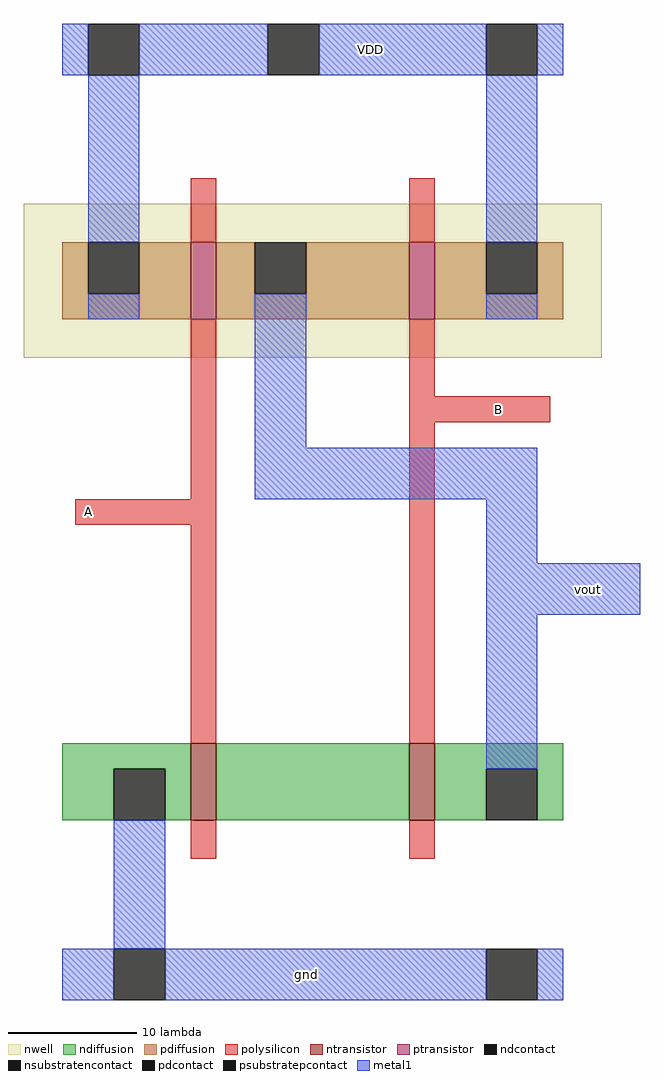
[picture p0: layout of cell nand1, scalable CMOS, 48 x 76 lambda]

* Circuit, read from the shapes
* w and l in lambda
.subckt nand1 A B VDD gnd vout
M1 n1 A gnd gnd nfet w=6 l=2
M2 vout B n1 gnd nfet w=6 l=2
M3 vout A VDD n2 pfet w=6 l=2
M4 VDD B vout n2 pfet w=6 l=2
.ends

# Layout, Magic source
magic
tech scmos
<< nwell >>
rect -21 9 24 21
<< polysilicon >>
rect -8 18 -6 23
rect 9 18 11 23
rect -8 -2 -6 12
rect -17 -4 -6 -2
rect -8 -21 -6 -4
rect 9 6 11 12
rect 9 4 20 6
rect 9 -21 11 4
rect -8 -30 -6 -27
rect 9 -30 11 -27
<< ndiffusion >>
rect -18 -23 -8 -21
rect -18 -27 -14 -23
rect -10 -27 -8 -23
rect -6 -27 9 -21
rect 11 -23 21 -21
rect 11 -27 15 -23
rect 19 -27 21 -23
<< pdiffusion >>
rect -18 14 -16 18
rect -12 14 -8 18
rect -18 12 -8 14
rect -6 14 -3 18
rect 1 14 9 18
rect -6 12 9 14
rect 11 14 15 18
rect 19 14 21 18
rect 11 12 21 14
<< metal1 >>
rect -18 31 -16 35
rect -12 31 -2 35
rect 2 31 15 35
rect 19 31 21 35
rect -16 18 -12 31
rect 15 18 19 31
rect -16 12 -12 14
rect -3 2 1 14
rect 15 12 19 14
rect -3 -2 19 2
rect 15 -7 19 -2
rect 15 -11 27 -7
rect 15 -23 19 -11
rect -14 -37 -10 -27
rect -18 -41 -14 -37
rect -10 -41 15 -37
rect 19 -41 21 -37
<< ntransistor >>
rect -8 -27 -6 -21
rect 9 -27 11 -21
<< ptransistor >>
rect -8 12 -6 18
rect 9 12 11 18
<< ndcontact >>
rect -14 -27 -10 -23
rect 15 -27 19 -23
<< pdcontact >>
rect -16 14 -12 18
rect -3 14 1 18
rect 15 14 19 18
<< psubstratepcontact >>
rect -14 -41 -10 -37
rect 15 -41 19 -37
<< nsubstratencontact >>
rect -16 31 -12 35
rect -2 31 2 35
rect 15 31 19 35
<< labels >>
rlabel metal1 23 -9 23 -9 7 vout
rlabel polysilicon -16 -3 -16 -3 3 A
rlabel polysilicon 16 5 16 5 1 B
rlabel metal1 6 33 6 33 5 VDD
rlabel metal1 1 -39 1 -39 1 gnd
<< end >>
